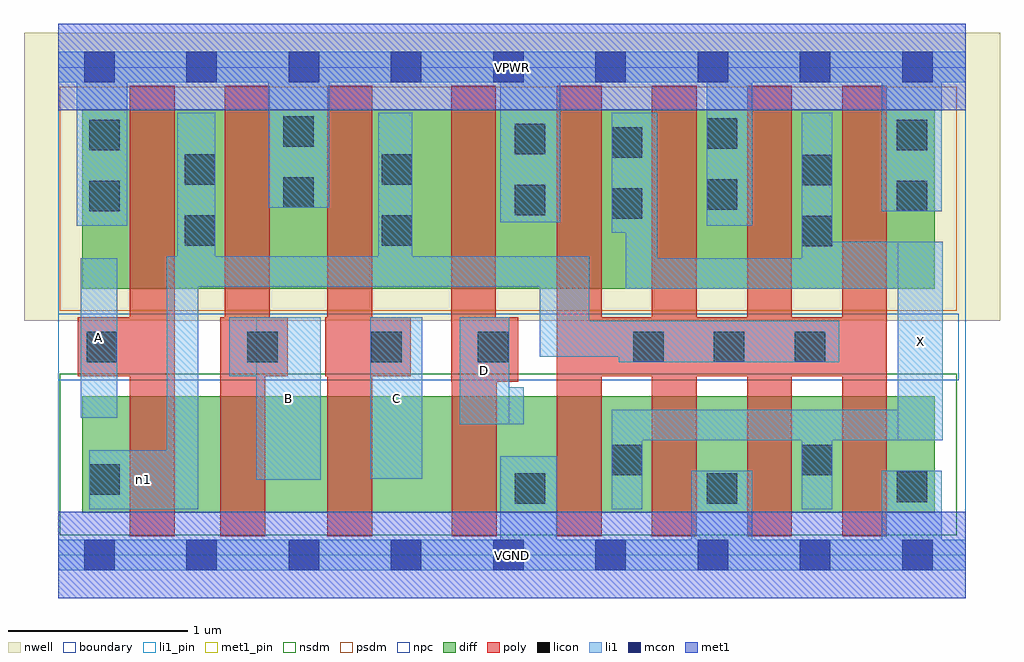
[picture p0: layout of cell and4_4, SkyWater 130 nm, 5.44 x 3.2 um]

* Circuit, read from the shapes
.subckt and4_4 A B C D VGND VPWR X n1
XM1 n2 A n1 VSUBS sky130_fd_pr__nfet_01v8 w=0.65 l=0.25
XM2 n3 B n2 VSUBS sky130_fd_pr__nfet_01v8 w=0.65 l=0.25
XM3 n4 C n3 VSUBS sky130_fd_pr__nfet_01v8 w=0.65 l=0.25
XM4 VGND D n4 VSUBS sky130_fd_pr__nfet_01v8 w=0.65 l=0.25
XM5 X n1 VGND VSUBS sky130_fd_pr__nfet_01v8 w=0.65 l=0.25 m=4
XM6 n1 A VPWR n5 sky130_fd_pr__pfet_01v8 w=1 l=0.25
XM7 VPWR B n1 n5 sky130_fd_pr__pfet_01v8 w=1 l=0.25
XM8 n1 C VPWR n5 sky130_fd_pr__pfet_01v8 w=1 l=0.25
XM9 VPWR D n1 n5 sky130_fd_pr__pfet_01v8 w=1 l=0.25
XM10 X n1 VPWR n5 sky130_fd_pr__pfet_01v8 w=1 l=0.25 m=4
.ends

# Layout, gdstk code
import gdstk
lib = gdstk.Library(unit=1e-6, precision=1e-09)
def R(c, l, rs):  # rectangles x0, y0, x1, y1
    for r in rs: c.add(gdstk.rectangle(r[:2], r[2:], *l))
def A(c, l, x, y, w, h, nx, ny, dx, dy):  # array of equal rectangles
    R(c, l, [(x+i*dx, y+j*dy, x+i*dx+w, y+j*dy+h) for i in range(nx) for j in range(ny)])
nwell = (64, 20)
diff = (65, 20)
poly = (66, 20)
licon = (66, 44)
li1_pin = (67, 16)
li1 = (67, 20)
mcon = (67, 44)
met1_pin = (68, 16)
met1 = (68, 20)
nsdm = (93, 44)
psdm = (94, 20)
npc = (95, 20)
boundary = (235, 4)

and4_4 = lib.new_cell('and4_4')
R(and4_4, nwell, [(-0.19,1.305,5.25,2.91), (0,1.305,5.06,2.91)])
R(and4_4, diff, [(0.135,0.235,4.885,0.885), (0.135,1.485,4.885,2.485)])
A(and4_4, poly, 2.78, 0.105, 0.25, 2.51, 4, 1, 0.53, 0)
R(and4_4, poly, [(0.4,0.105,0.65,2.615), (0.905,0.105,1.155,1.325), (1.5,0.105,1.75,2.615), (2.195,0.105,2.445,1.325), (2.19,0.965,2.44,2.615), (2.19,0.965,2.565,1.325), (0.11,0.995,0.65,1.325), (0.905,0.995,1.28,1.325), (0.93,0.995,1.18,2.615), (1.49,0.995,1.965,1.325), (2.78,0.995,4.62,1.325)])
A(and4_4, licon, 3.205, 1.075, 0.17, 0.17, 3, 1, 0.45, 0)
R(and4_4, licon, [(2.545,0.285,2.715,0.455), (3.615,0.285,3.785,0.455), (4.675,0.295,4.845,0.465), (0.175,0.335,0.345,0.505), (3.085,0.445,3.255,0.615), (4.145,0.445,4.315,0.615), (0.16,1.075,0.33,1.245), (1.055,1.075,1.225,1.245), (1.745,1.075,1.915,1.245), (2.34,1.075,2.51,1.245), (4.145,1.72,4.315,1.89), (0.705,1.725,0.875,1.895), (1.805,1.725,1.975,1.895), (3.085,1.875,3.255,2.045), (2.545,1.895,2.715,2.065), (0.175,1.915,0.345,2.085), (4.675,1.915,4.845,2.085), (3.615,1.925,3.785,2.095), (1.255,1.935,1.425,2.105), (4.145,2.06,4.315,2.23), (0.705,2.065,0.875,2.235), (1.805,2.065,1.975,2.235), (3.085,2.215,3.255,2.385), (2.545,2.235,2.715,2.405), (0.175,2.255,0.345,2.425), (4.675,2.255,4.845,2.425), (3.615,2.265,3.785,2.435), (1.255,2.275,1.425,2.445)])
R(and4_4, li1_pin, [(1.105,0.42,1.465,1.325), (1.74,0.425,2.03,1.325), (4.68,0.64,4.93,1.745), (2.24,0.73,2.515,1.325), (0.125,0.765,0.33,1.655)])
R(and4_4, li1, [(0,-0.085,5.06,0.085), (2.465,-0.085,2.78,0.55), (3.53,-0.085,3.87,0.47), (4.59,-0.085,4.925,0.47), (0.175,0.255,0.78,0.585), (0.605,0.255,0.78,1.665), (3.085,0.255,3.255,0.81), (4.145,0.255,4.315,0.81), (1.105,0.42,1.465,1.325), (1.74,0.425,2.03,1.325), (3.085,0.64,4.93,0.81), (4.68,0.64,4.93,1.745), (2.24,0.73,2.515,1.325), (2.24,0.73,2.595,0.935), (0.125,0.765,0.33,1.655), (0.955,0.995,1.465,1.325), (3.125,1.075,4.355,1.305), (2.685,1.105,4.355,1.305), (2.685,1.105,2.96,1.665), (3.165,1.485,4.93,1.655), (3.165,1.485,3.34,2.465), (4.145,1.485,4.315,2.465), (4.145,1.485,4.93,1.745), (0.605,1.495,2.96,1.665), (0.665,1.495,0.875,2.465), (1.785,1.495,1.975,2.465), (3.085,1.795,3.34,2.465), (0.105,1.835,0.385,2.805), (3.615,1.835,3.87,2.805), (2.465,1.855,2.8,2.805), (4.59,1.915,4.925,2.805), (1.17,1.935,1.51,2.805), (0,2.635,5.06,2.805)])
A(and4_4, mcon, 0.145, -0.085, 0.17, 0.17, 9, 2, 0.57, 2.72)
R(and4_4, met1_pin, [(0,-0.24,5.06,0.24), (0,2.48,5.06,2.96)])
R(and4_4, met1, [(0,-0.24,5.06,0.24), (0,2.48,5.06,2.96)])
R(and4_4, nsdm, [(0.01,0.11,5.01,1.01)])
R(and4_4, psdm, [(0.01,1.36,5.01,2.61)])
R(and4_4, npc, [(0,0.975,5.02,1.345)])
R(and4_4, boundary, [(0,0,5.06,2.72)])
and4_4.add(gdstk.Label('A', (0.227,1.21), layer=67, texttype=5))
and4_4.add(gdstk.Label('B', (1.285,0.872), layer=67, texttype=5))
and4_4.add(gdstk.Label('C', (1.885,0.875), layer=67, texttype=5))
and4_4.add(gdstk.Label('D', (2.377,1.027), layer=67, texttype=5))
and4_4.add(gdstk.Label('X', (4.805,1.192), layer=67, texttype=5))
and4_4.add(gdstk.Label('n1', (0.477,0.42), layer=67, texttype=5))
and4_4.add(gdstk.Label('VPWR', (2.53,2.72), layer=68, texttype=5))
and4_4.add(gdstk.Label('VGND', (2.53,0), layer=68, texttype=5))
and4_4.add(gdstk.Label('A', (0.227,1.21), layer=67, texttype=16))
and4_4.add(gdstk.Label('B', (1.285,0.872), layer=67, texttype=16))
and4_4.add(gdstk.Label('C', (1.885,0.875), layer=67, texttype=16))
and4_4.add(gdstk.Label('D', (2.377,1.027), layer=67, texttype=16))
and4_4.add(gdstk.Label('X', (4.805,1.192), layer=67, texttype=16))
and4_4.add(gdstk.Label('VPWR', (2.53,2.72), layer=68, texttype=16))
and4_4.add(gdstk.Label('VGND', (2.53,0), layer=68, texttype=16))

lib.write_gds('and4_4.gds')
